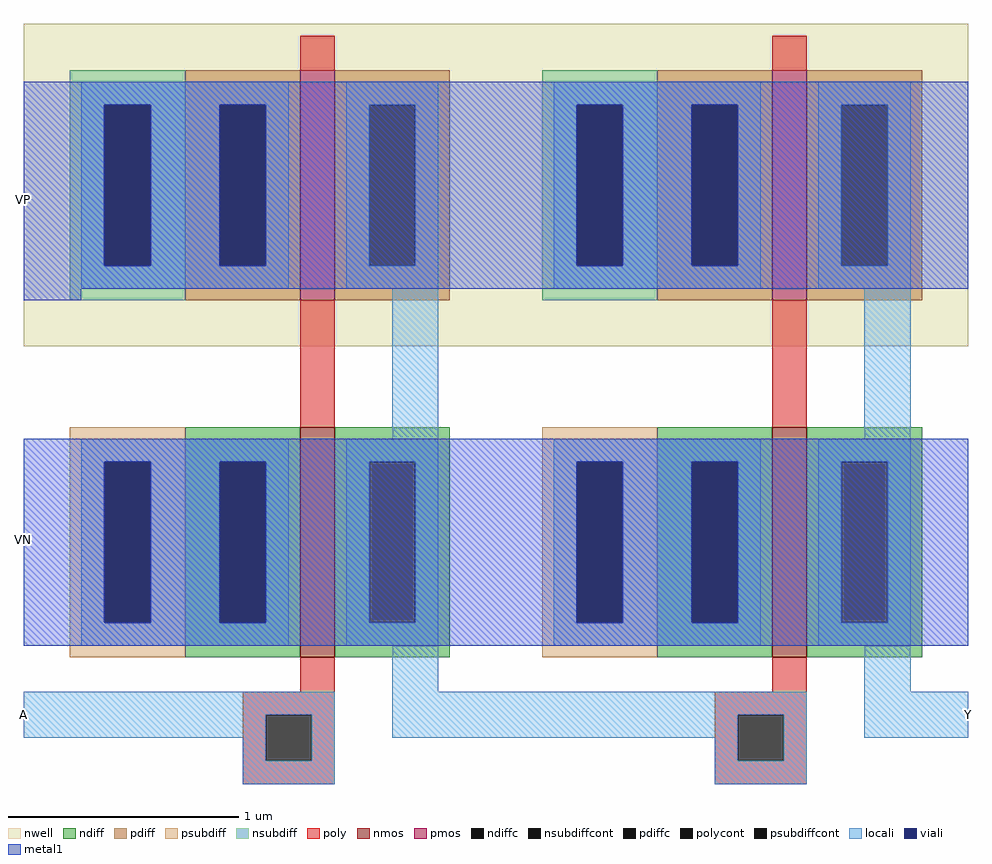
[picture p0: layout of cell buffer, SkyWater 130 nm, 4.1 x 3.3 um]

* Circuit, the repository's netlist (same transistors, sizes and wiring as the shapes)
* SPICE3 file created from buffer.ext - technology: sky130A

.subckt inverter A Y VN VP
X0 Y A VP VP sky130_fd_pr__pfet_01v8 ad=0.5 pd=3 as=0.5 ps=3 w=1 l=0.15
X1 Y A VN VN sky130_fd_pr__nfet_01v8 ad=0.5 pd=3 as=0.5 ps=3 w=1 l=0.15
.ends

.subckt buffer
Xinverter_0 A inverter_1/A VN VP inverter
Xinverter_1 inverter_1/A Y VN VP inverter
.ends

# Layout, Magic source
magic
tech sky130A
<< locali >>
rect -11 17 14 37
rect 374 17 399 37
<< metal1 >>
rect -11 207 14 297
rect -11 57 14 147
use inverter  inverter_0 ~/Documents/MADVLSI/MP1/layout
transform 1 0 119 0 1 77
box -130 -80 75 250
use inverter  inverter_1
transform 1 0 324 0 1 77
box -130 -80 75 250
<< labels >>
rlabel locali -11 27 -11 27 7 A
rlabel locali 399 27 399 27 3 Y
rlabel metal1 -11 103 -11 103 7 VN
rlabel metal1 -11 251 -11 251 7 VP
<< end >>

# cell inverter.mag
magic
tech sky130A
<< nwell >>
rect -130 110 75 250
<< nmos >>
rect -10 -25 5 75
<< pmos >>
rect -10 130 5 230
<< ndiff >>
rect -60 60 -10 75
rect -60 -10 -45 60
rect -25 -10 -10 60
rect -60 -25 -10 -10
rect 5 60 55 75
rect 5 -10 20 60
rect 40 -10 55 60
rect 5 -25 55 -10
<< pdiff >>
rect -60 215 -10 230
rect -60 145 -45 215
rect -25 145 -10 215
rect -60 130 -10 145
rect 5 215 55 230
rect 5 145 20 215
rect 40 145 55 215
rect 5 130 55 145
<< ndiffc >>
rect -45 -10 -25 60
rect 20 -10 40 60
<< pdiffc >>
rect -45 145 -25 215
rect 20 145 40 215
<< psubdiff >>
rect -110 60 -60 75
rect -110 -10 -95 60
rect -75 -10 -60 60
rect -110 -25 -60 -10
<< nsubdiff >>
rect -110 215 -60 230
rect -110 145 -95 215
rect -75 145 -60 215
rect -110 130 -60 145
<< psubdiffcont >>
rect -95 -10 -75 60
<< nsubdiffcont >>
rect -95 145 -75 215
<< poly >>
rect -10 230 5 245
rect -10 75 5 130
rect -10 -40 5 -25
rect -35 -50 5 -40
rect -35 -70 -25 -50
rect -5 -70 5 -50
rect -35 -80 5 -70
<< polycont >>
rect -25 -70 -5 -50
<< locali >>
rect -105 215 -15 225
rect -105 145 -95 215
rect -75 145 -45 215
rect -25 145 -15 215
rect -105 135 -15 145
rect 10 215 50 225
rect 10 145 20 215
rect 40 145 50 215
rect 10 135 50 145
rect 30 70 50 135
rect -105 60 -15 70
rect -105 -10 -95 60
rect -75 -10 -45 60
rect -25 -10 -15 60
rect -105 -20 -15 -10
rect 10 60 50 70
rect 10 -10 20 60
rect 40 -10 50 60
rect 10 -20 50 -10
rect 30 -40 50 -20
rect -130 -50 5 -40
rect -130 -60 -25 -50
rect -35 -70 -25 -60
rect -5 -70 5 -50
rect 30 -60 75 -40
rect -35 -80 5 -70
<< viali >>
rect -95 145 -75 215
rect -45 145 -25 215
rect -95 -10 -75 60
rect -45 -10 -25 60
<< metal1 >>
rect -130 215 75 225
rect -130 145 -95 215
rect -75 145 -45 215
rect -25 145 75 215
rect -130 135 75 145
rect -130 60 75 70
rect -130 -10 -95 60
rect -75 -10 -45 60
rect -25 -10 75 60
rect -130 -20 75 -10
<< labels >>
rlabel locali 75 -50 75 -50 3 Y
port 2 e
rlabel locali -130 -50 -130 -50 7 A
port 1 w
rlabel metal1 -130 25 -130 25 7 VN
port 4 w
rlabel metal1 -130 180 -130 180 7 VP
port 3 w
<< end >>
